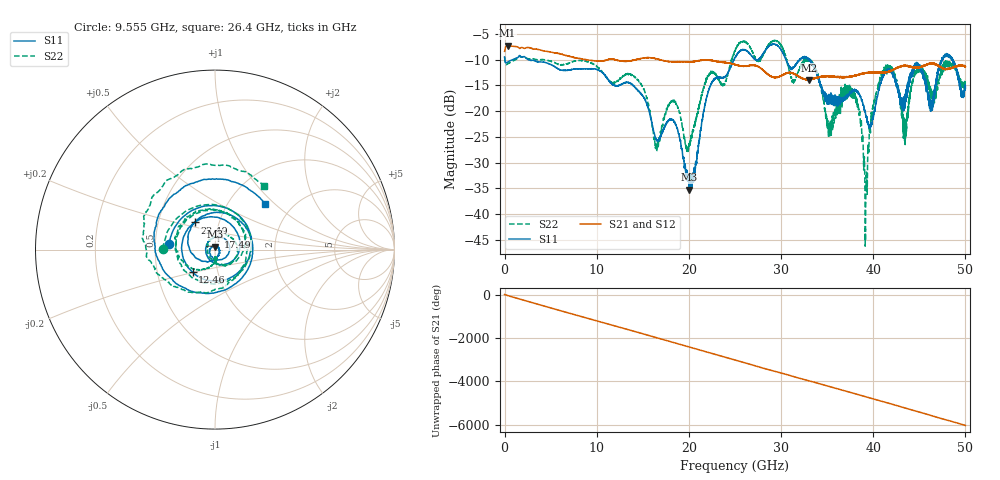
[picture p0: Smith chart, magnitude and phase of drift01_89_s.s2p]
!Created with skrf (http://scikit-rf.org).
# Hz S RI R 50.0
!freq ReS11 ImS11 ReS21 ImS21 ReS12 ImS12 ReS22 ImS22
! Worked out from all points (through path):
!   10001 points, 300 kHz to 50 GHz, reference 50 ohm
!   highest |S21| = -7.33 dB at 325.3 MHz (marker M1); lowest = -14.0 dB at 33.02 GHz (marker M2)
!   group delay of S21, straight-line fit = 335 ps
!   lowest |S11| = -35.3 dB at 20.01 GHz (marker M3), VSWR 1.04, Z = 49.9 + j1.72 ohm
!   |S11| at or under -10 dB: 2.554 GHz to 24.91 GHz (22.35 GHz wide, 163 % of centre); 30.52 GHz to 32.02 GHz (1.496 GHz wide, 4.78 % of centre); 33.07 GHz to 47.44 GHz (14.37 GHz wide, 35.7 % of centre) (the widest 3 of 20)
!   |S22| runs from -46.2 to -6.3 dB; largest |S21 - S12| = 0.0089
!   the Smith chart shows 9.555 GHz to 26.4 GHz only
!   S11 on the Smith chart (normalised r, x): 9.555 GHz: 0.59, +0.04; 12.46 GHz: 0.76, -0.20; 17.49 GHz: 1.03, +0.15; 22.49 GHz: 0.76, +0.24; 26.4 GHz: 1.46, +0.87
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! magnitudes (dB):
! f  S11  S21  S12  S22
! 300 kHz  -9.5  -8.4  -8.5  -9.5
! 325.3 MHz  -10.5  -7.3  -7.3  -10.9
! 8.335 GHz  -11.8  -9.8  -9.8  -10.2
! 9.555 GHz  -11.8  -10.2  -10.2  -10.8
! 12.46 GHz  -15.0  -10.2  -10.2  -13.9
! 16.67 GHz  -25.8  -10.0  -9.9  -27.0
! 17.49 GHz  -22.6  -10.3  -10.3  -20.5
! 20.01 GHz  -35.3  -10.5  -10.5  -26.6
! 22.49 GHz  -14.5  -10.2  -10.2  -12.6
! 25 GHz  -9.6  -11.0  -11.0  -8.3
! 26.4 GHz  -8.5  -11.2  -11.2  -7.0
! 33.02 GHz  -9.8  -14.0  -13.9  -10.1
! 33.34 GHz  -10.7  -13.8  -13.8  -10.4
! 35.23 GHz  -18.0  -13.3  -13.3  -22.7
! 37.99 GHz  -15.9  -13.1  -13.2  -17.1
! 39.17 GHz  -20.5  -12.6  -12.6  -40.8
! 40.15 GHz  -19.8  -12.4  -12.5  -17.8
! 41.67 GHz  -12.0  -12.3  -12.3  -11.5
! 43.45 GHz  -17.6  -11.2  -11.2  -24.7
! 44.88 GHz  -10.8  -11.5  -11.6  -11.9
! 46.28 GHz  -19.3  -10.8  -10.8  -16.9
! 50 GHz  -15.5  -11.4  -11.3  -15.0
